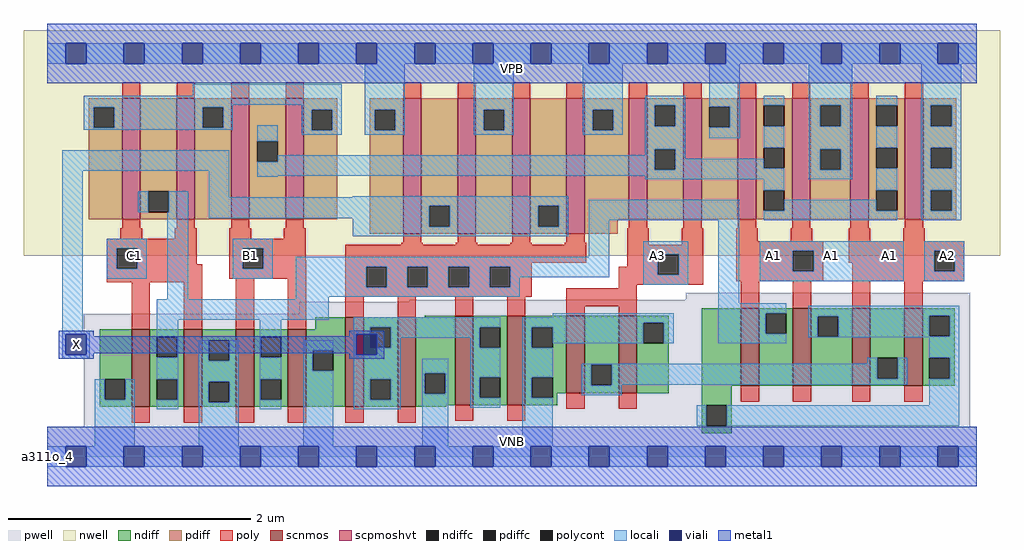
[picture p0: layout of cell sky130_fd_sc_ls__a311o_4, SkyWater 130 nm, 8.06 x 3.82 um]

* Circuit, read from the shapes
.subckt sky130_fd_sc_ls__a311o_4 A1 A2 A3 B1 C1 VGND VNB VPB VPWR X
XM1 n1 C1 VGND VNB sky130_fd_pr__nfet_01v8 w=0.64 l=0.15 m=2
XM2 n1 B1 VGND VNB sky130_fd_pr__nfet_01v8 w=0.64 l=0.15 m=2
XM3 X n1 VGND VNB sky130_fd_pr__nfet_01v8 w=0.74 l=0.15 m=4
XM4 n2 A3 VGND VNB sky130_fd_pr__nfet_01v8 w=0.64 l=0.15 m=2
XM5 n1 A1 n3 VNB sky130_fd_pr__nfet_01v8 w=0.64 l=0.15 m=2
XM6 n2 A2 n3 VNB sky130_fd_pr__nfet_01v8 w=0.64 l=0.15 m=2
XM7 n1 C1 n4 VPB sky130_fd_pr__pfet_01v8_hvt w=1 l=0.15 m=2
XM8 n5 B1 n4 VPB sky130_fd_pr__pfet_01v8_hvt w=1 l=0.15 m=2
XM9 X n1 VPWR VPB sky130_fd_pr__pfet_01v8_hvt w=1.12 l=0.15 m=4
XM10 n5 A3 VPWR VPB sky130_fd_pr__pfet_01v8_hvt w=1 l=0.15 m=2
XM11 n5 A1 VPWR VPB sky130_fd_pr__pfet_01v8_hvt w=1 l=0.15 m=2
XM12 n5 A2 VPWR VPB sky130_fd_pr__pfet_01v8_hvt w=1 l=0.15 m=2
.ends

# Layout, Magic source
magic
tech sky130A
magscale 1 2
<< nwell >>
rect -38 332 1574 704
<< pwell >>
rect 1055 259 1525 271
rect 598 256 1525 259
rect 417 236 1525 256
rect 61 49 1525 236
rect 0 0 1536 49
<< scnmos >>
rect 140 82 170 210
rect 226 82 256 210
rect 312 82 342 210
rect 398 82 428 210
rect 493 82 523 230
rect 579 82 609 230
rect 674 85 704 233
rect 760 85 790 233
rect 858 105 888 233
rect 944 105 974 233
rect 1146 117 1176 245
rect 1232 117 1262 245
rect 1330 117 1360 245
rect 1416 117 1446 245
<< scpmoshvt >>
rect 124 392 154 592
rect 214 392 244 592
rect 304 392 334 592
rect 394 392 424 592
rect 588 368 618 592
rect 678 368 708 592
rect 768 368 798 592
rect 858 368 888 592
rect 961 392 991 592
rect 1051 392 1081 592
rect 1141 392 1171 592
rect 1231 392 1261 592
rect 1327 392 1357 592
rect 1417 392 1447 592
<< ndiff >>
rect 624 230 674 233
rect 443 210 493 230
rect 87 128 140 210
rect 87 94 95 128
rect 129 94 140 128
rect 87 82 140 94
rect 170 198 226 210
rect 170 164 181 198
rect 215 164 226 198
rect 170 128 226 164
rect 170 94 181 128
rect 215 94 226 128
rect 170 82 226 94
rect 256 192 312 210
rect 256 158 267 192
rect 301 158 312 192
rect 256 124 312 158
rect 256 90 267 124
rect 301 90 312 124
rect 256 82 312 90
rect 342 198 398 210
rect 342 164 353 198
rect 387 164 398 198
rect 342 128 398 164
rect 342 94 353 128
rect 387 94 398 128
rect 342 82 398 94
rect 428 176 493 210
rect 428 142 439 176
rect 473 142 493 176
rect 428 82 493 142
rect 523 214 579 230
rect 523 180 534 214
rect 568 180 579 214
rect 523 128 579 180
rect 523 94 534 128
rect 568 94 579 128
rect 523 82 579 94
rect 609 138 674 230
rect 609 104 624 138
rect 658 104 674 138
rect 609 85 674 104
rect 704 214 760 233
rect 704 180 715 214
rect 749 180 760 214
rect 704 131 760 180
rect 704 97 715 131
rect 749 97 760 131
rect 704 85 760 97
rect 790 214 858 233
rect 790 180 801 214
rect 835 180 858 214
rect 790 131 858 180
rect 790 97 801 131
rect 835 105 858 131
rect 888 152 944 233
rect 888 118 899 152
rect 933 118 944 152
rect 888 105 944 118
rect 974 221 1027 233
rect 974 187 985 221
rect 1019 187 1027 221
rect 974 105 1027 187
rect 1081 117 1146 245
rect 1176 237 1232 245
rect 1176 203 1187 237
rect 1221 203 1232 237
rect 1176 117 1232 203
rect 1262 232 1330 245
rect 1262 198 1273 232
rect 1307 198 1330 232
rect 1262 117 1330 198
rect 1360 163 1416 245
rect 1360 129 1371 163
rect 1405 129 1416 163
rect 1360 117 1416 129
rect 1446 233 1499 245
rect 1446 199 1457 233
rect 1491 199 1499 233
rect 1446 163 1499 199
rect 1446 129 1457 163
rect 1491 129 1499 163
rect 1446 117 1499 129
rect 835 97 843 105
rect 790 85 843 97
rect 609 82 659 85
rect 1081 85 1131 117
rect 1081 51 1089 85
rect 1123 51 1131 85
rect 1081 39 1131 51
<< pdiff >>
rect 69 577 124 592
rect 69 543 77 577
rect 111 543 124 577
rect 69 392 124 543
rect 154 438 214 592
rect 154 404 167 438
rect 201 404 214 438
rect 154 392 214 404
rect 244 577 304 592
rect 244 543 257 577
rect 291 543 304 577
rect 244 392 304 543
rect 334 521 394 592
rect 334 487 347 521
rect 381 487 394 521
rect 334 392 394 487
rect 424 573 479 592
rect 424 539 437 573
rect 471 539 479 573
rect 424 392 479 539
rect 533 573 588 592
rect 533 539 541 573
rect 575 539 588 573
rect 533 368 588 539
rect 618 414 678 592
rect 618 380 631 414
rect 665 380 678 414
rect 618 368 678 380
rect 708 573 768 592
rect 708 539 721 573
rect 755 539 768 573
rect 708 368 768 539
rect 798 414 858 592
rect 798 380 811 414
rect 845 380 858 414
rect 798 368 858 380
rect 888 573 961 592
rect 888 539 901 573
rect 935 539 961 573
rect 888 392 961 539
rect 991 580 1051 592
rect 991 546 1004 580
rect 1038 546 1051 580
rect 991 508 1051 546
rect 991 474 1004 508
rect 1038 474 1051 508
rect 991 392 1051 474
rect 1081 578 1141 592
rect 1081 544 1094 578
rect 1128 544 1141 578
rect 1081 392 1141 544
rect 1171 580 1231 592
rect 1171 546 1184 580
rect 1218 546 1231 580
rect 1171 510 1231 546
rect 1171 476 1184 510
rect 1218 476 1231 510
rect 1171 440 1231 476
rect 1171 406 1184 440
rect 1218 406 1231 440
rect 1171 392 1231 406
rect 1261 580 1327 592
rect 1261 546 1277 580
rect 1311 546 1327 580
rect 1261 508 1327 546
rect 1261 474 1277 508
rect 1311 474 1327 508
rect 1261 392 1327 474
rect 1357 580 1417 592
rect 1357 546 1370 580
rect 1404 546 1417 580
rect 1357 510 1417 546
rect 1357 476 1370 510
rect 1404 476 1417 510
rect 1357 440 1417 476
rect 1357 406 1370 440
rect 1404 406 1417 440
rect 1357 392 1417 406
rect 1447 580 1502 592
rect 1447 546 1460 580
rect 1494 546 1502 580
rect 1447 510 1502 546
rect 1447 476 1460 510
rect 1494 476 1502 510
rect 1447 440 1502 476
rect 1447 406 1460 440
rect 1494 406 1502 440
rect 1447 392 1502 406
rect 888 368 943 392
<< ndiffc >>
rect 95 94 129 128
rect 181 164 215 198
rect 181 94 215 128
rect 267 158 301 192
rect 267 90 301 124
rect 353 164 387 198
rect 353 94 387 128
rect 439 142 473 176
rect 534 180 568 214
rect 534 94 568 128
rect 624 104 658 138
rect 715 180 749 214
rect 715 97 749 131
rect 801 180 835 214
rect 801 97 835 131
rect 899 118 933 152
rect 985 187 1019 221
rect 1187 203 1221 237
rect 1273 198 1307 232
rect 1371 129 1405 163
rect 1457 199 1491 233
rect 1457 129 1491 163
rect 1089 51 1123 85
<< pdiffc >>
rect 77 543 111 577
rect 167 404 201 438
rect 257 543 291 577
rect 347 487 381 521
rect 437 539 471 573
rect 541 539 575 573
rect 631 380 665 414
rect 721 539 755 573
rect 811 380 845 414
rect 901 539 935 573
rect 1004 546 1038 580
rect 1004 474 1038 508
rect 1094 544 1128 578
rect 1184 546 1218 580
rect 1184 476 1218 510
rect 1184 406 1218 440
rect 1277 546 1311 580
rect 1277 474 1311 508
rect 1370 546 1404 580
rect 1370 476 1404 510
rect 1370 406 1404 440
rect 1460 546 1494 580
rect 1460 476 1494 510
rect 1460 406 1494 440
<< poly >>
rect 124 592 154 618
rect 214 592 244 618
rect 304 592 334 618
rect 394 592 424 618
rect 588 592 618 618
rect 678 592 708 618
rect 768 592 798 618
rect 858 592 888 618
rect 961 592 991 618
rect 1051 592 1081 618
rect 1141 592 1171 618
rect 1231 592 1261 618
rect 1327 592 1357 618
rect 1417 592 1447 618
rect 124 377 154 392
rect 214 377 244 392
rect 304 377 334 392
rect 394 377 424 392
rect 121 360 157 377
rect 211 360 247 377
rect 99 344 247 360
rect 99 310 115 344
rect 149 318 247 344
rect 301 360 337 377
rect 391 360 427 377
rect 961 377 991 392
rect 1051 377 1081 392
rect 1141 377 1171 392
rect 1231 377 1261 392
rect 1327 377 1357 392
rect 1417 377 1447 392
rect 301 344 427 360
rect 588 353 618 368
rect 678 353 708 368
rect 768 353 798 368
rect 858 353 888 368
rect 585 350 621 353
rect 675 350 711 353
rect 765 350 801 353
rect 855 350 891 353
rect 149 310 256 318
rect 99 288 256 310
rect 301 310 323 344
rect 357 324 427 344
rect 357 310 428 324
rect 301 294 428 310
rect 140 210 170 288
rect 226 210 256 288
rect 312 210 342 294
rect 398 210 428 294
rect 493 320 891 350
rect 958 350 994 377
rect 1048 350 1084 377
rect 958 334 1084 350
rect 493 314 801 320
rect 958 314 1009 334
rect 493 280 527 314
rect 561 280 595 314
rect 629 280 663 314
rect 697 280 731 314
rect 765 280 801 314
rect 493 264 801 280
rect 944 300 1009 314
rect 1043 300 1084 334
rect 944 284 1084 300
rect 1138 356 1174 377
rect 1228 356 1264 377
rect 1324 356 1360 377
rect 1414 356 1450 377
rect 1138 340 1282 356
rect 1138 306 1232 340
rect 1266 306 1282 340
rect 1324 340 1515 356
rect 1324 320 1465 340
rect 1138 290 1282 306
rect 1330 306 1465 320
rect 1499 306 1515 340
rect 1330 290 1515 306
rect 944 278 974 284
rect 493 230 523 264
rect 579 230 609 264
rect 674 233 704 264
rect 760 233 790 264
rect 858 248 974 278
rect 858 233 888 248
rect 944 233 974 248
rect 1146 245 1176 290
rect 1232 245 1262 290
rect 1330 245 1360 290
rect 1416 245 1446 290
rect 140 56 170 82
rect 226 56 256 82
rect 312 56 342 82
rect 398 56 428 82
rect 493 56 523 82
rect 579 56 609 82
rect 674 59 704 85
rect 760 59 790 85
rect 858 79 888 105
rect 944 79 974 105
rect 1146 91 1176 117
rect 1232 91 1262 117
rect 1330 91 1360 117
rect 1416 91 1446 117
<< polycont >>
rect 115 310 149 344
rect 323 310 357 344
rect 527 280 561 314
rect 595 280 629 314
rect 663 280 697 314
rect 731 280 765 314
rect 1009 300 1043 334
rect 1232 306 1266 340
rect 1465 306 1499 340
<< locali >>
rect 0 649 31 683
rect 65 649 127 683
rect 161 649 223 683
rect 257 649 319 683
rect 353 649 415 683
rect 449 649 511 683
rect 545 649 607 683
rect 641 649 703 683
rect 737 649 799 683
rect 833 649 895 683
rect 929 649 991 683
rect 1025 649 1087 683
rect 1121 649 1183 683
rect 1217 649 1279 683
rect 1313 649 1375 683
rect 1409 649 1471 683
rect 1505 649 1536 683
rect 241 596 487 615
rect 61 581 487 596
rect 61 577 307 581
rect 61 543 77 577
rect 111 543 257 577
rect 291 543 307 577
rect 421 573 487 581
rect 61 540 307 543
rect 347 521 381 547
rect 421 539 437 573
rect 471 539 487 573
rect 421 532 487 539
rect 525 573 591 649
rect 525 539 541 573
rect 575 539 591 573
rect 525 532 591 539
rect 705 573 771 649
rect 705 539 721 573
rect 755 539 771 573
rect 705 532 771 539
rect 885 573 951 649
rect 885 539 901 573
rect 935 539 951 573
rect 885 532 951 539
rect 988 580 1054 596
rect 988 546 1004 580
rect 1038 546 1054 580
rect 25 472 301 506
rect 25 208 59 472
rect 151 404 167 438
rect 201 404 233 438
rect 99 344 165 360
rect 99 310 115 344
rect 149 310 165 344
rect 99 294 165 310
rect 199 260 233 404
rect 267 428 301 472
rect 988 508 1054 546
rect 1094 578 1144 649
rect 1128 544 1144 578
rect 1094 526 1144 544
rect 1184 580 1218 596
rect 988 498 1004 508
rect 381 487 1004 498
rect 347 474 1004 487
rect 1038 492 1054 508
rect 1184 510 1218 546
rect 1038 476 1184 492
rect 1038 474 1218 476
rect 347 464 1218 474
rect 347 462 381 464
rect 988 458 1218 464
rect 1258 580 1330 649
rect 1258 546 1277 580
rect 1311 546 1330 580
rect 1258 508 1330 546
rect 1258 474 1277 508
rect 1311 474 1330 508
rect 1258 458 1330 474
rect 1370 580 1404 596
rect 1370 510 1404 546
rect 1184 440 1218 458
rect 505 428 861 430
rect 267 414 861 428
rect 267 394 631 414
rect 505 380 631 394
rect 665 380 811 414
rect 845 380 861 414
rect 505 364 861 380
rect 895 390 1143 424
rect 1370 440 1404 476
rect 1218 406 1370 424
rect 1184 390 1404 406
rect 1444 580 1510 649
rect 1444 546 1460 580
rect 1494 546 1510 580
rect 1444 510 1510 546
rect 1444 476 1460 510
rect 1494 476 1510 510
rect 1444 440 1510 476
rect 1444 406 1460 440
rect 1494 406 1510 440
rect 1444 390 1510 406
rect 307 344 373 360
rect 307 310 323 344
rect 357 310 373 344
rect 895 330 929 390
rect 307 294 373 310
rect 411 314 929 330
rect 411 280 527 314
rect 561 280 595 314
rect 629 280 663 314
rect 697 280 731 314
rect 765 296 929 314
rect 985 334 1059 356
rect 985 300 1009 334
rect 1043 300 1059 334
rect 765 280 781 296
rect 985 284 1059 300
rect 411 264 781 280
rect 411 260 465 264
rect 181 226 465 260
rect 1109 253 1143 390
rect 1177 340 1415 356
rect 1177 306 1232 340
rect 1266 306 1415 340
rect 1177 290 1415 306
rect 1449 340 1515 356
rect 1449 306 1465 340
rect 1499 306 1515 340
rect 1449 290 1515 306
rect 1109 237 1221 253
rect 835 230 1035 237
rect 25 202 71 208
rect 25 168 31 202
rect 65 168 71 202
rect 25 162 71 168
rect 181 198 217 226
rect 215 164 217 198
rect 351 198 387 226
rect 181 128 217 164
rect 79 94 95 128
rect 129 94 145 128
rect 79 17 145 94
rect 215 94 217 128
rect 181 78 217 94
rect 251 158 267 192
rect 301 158 317 192
rect 251 124 317 158
rect 251 90 267 124
rect 301 90 317 124
rect 251 17 317 90
rect 351 164 353 198
rect 507 214 749 230
rect 507 202 534 214
rect 351 128 387 164
rect 351 94 353 128
rect 351 78 387 94
rect 423 176 473 192
rect 423 142 439 176
rect 423 17 473 142
rect 507 168 511 202
rect 568 196 715 214
rect 568 180 584 196
rect 545 168 584 180
rect 507 128 584 168
rect 699 180 715 196
rect 507 94 534 128
rect 568 94 584 128
rect 507 78 584 94
rect 620 138 663 162
rect 620 104 624 138
rect 658 104 663 138
rect 620 17 663 104
rect 699 131 749 180
rect 699 97 715 131
rect 699 81 749 97
rect 785 221 1035 230
rect 785 214 985 221
rect 785 180 801 214
rect 835 187 985 214
rect 1019 187 1035 221
rect 1109 203 1187 237
rect 1109 187 1221 203
rect 1257 233 1507 249
rect 1257 232 1457 233
rect 1257 198 1273 232
rect 1307 199 1457 232
rect 1491 199 1507 233
rect 1307 198 1507 199
rect 1257 197 1507 198
rect 785 131 835 180
rect 1457 163 1507 197
rect 1355 153 1371 163
rect 785 97 801 131
rect 883 152 1371 153
rect 883 118 899 152
rect 933 129 1371 152
rect 1405 129 1421 163
rect 933 119 1421 129
rect 1491 129 1507 163
rect 933 118 949 119
rect 883 101 949 118
rect 785 17 835 97
rect 1457 85 1507 129
rect 1073 51 1089 85
rect 1123 51 1507 85
rect 0 -17 31 17
rect 65 -17 127 17
rect 161 -17 223 17
rect 257 -17 319 17
rect 353 -17 415 17
rect 449 -17 511 17
rect 545 -17 607 17
rect 641 -17 703 17
rect 737 -17 799 17
rect 833 -17 895 17
rect 929 -17 991 17
rect 1025 -17 1087 17
rect 1121 -17 1183 17
rect 1217 -17 1279 17
rect 1313 -17 1375 17
rect 1409 -17 1471 17
rect 1505 -17 1536 17
<< viali >>
rect 31 649 65 683
rect 127 649 161 683
rect 223 649 257 683
rect 319 649 353 683
rect 415 649 449 683
rect 511 649 545 683
rect 607 649 641 683
rect 703 649 737 683
rect 799 649 833 683
rect 895 649 929 683
rect 991 649 1025 683
rect 1087 649 1121 683
rect 1183 649 1217 683
rect 1279 649 1313 683
rect 1375 649 1409 683
rect 1471 649 1505 683
rect 31 168 65 202
rect 511 180 534 202
rect 534 180 545 202
rect 511 168 545 180
rect 31 -17 65 17
rect 127 -17 161 17
rect 223 -17 257 17
rect 319 -17 353 17
rect 415 -17 449 17
rect 511 -17 545 17
rect 607 -17 641 17
rect 703 -17 737 17
rect 799 -17 833 17
rect 895 -17 929 17
rect 991 -17 1025 17
rect 1087 -17 1121 17
rect 1183 -17 1217 17
rect 1279 -17 1313 17
rect 1375 -17 1409 17
rect 1471 -17 1505 17
<< metal1 >>
rect 0 683 1536 715
rect 0 649 31 683
rect 65 649 127 683
rect 161 649 223 683
rect 257 649 319 683
rect 353 649 415 683
rect 449 649 511 683
rect 545 649 607 683
rect 641 649 703 683
rect 737 649 799 683
rect 833 649 895 683
rect 929 649 991 683
rect 1025 649 1087 683
rect 1121 649 1183 683
rect 1217 649 1279 683
rect 1313 649 1375 683
rect 1409 649 1471 683
rect 1505 649 1536 683
rect 0 617 1536 649
rect 19 202 77 208
rect 19 168 31 202
rect 65 199 77 202
rect 499 202 557 208
rect 499 199 511 202
rect 65 171 511 199
rect 65 168 77 171
rect 19 162 77 168
rect 499 168 511 171
rect 545 168 557 202
rect 499 162 557 168
rect 0 17 1536 49
rect 0 -17 31 17
rect 65 -17 127 17
rect 161 -17 223 17
rect 257 -17 319 17
rect 353 -17 415 17
rect 449 -17 511 17
rect 545 -17 607 17
rect 641 -17 703 17
rect 737 -17 799 17
rect 833 -17 895 17
rect 929 -17 991 17
rect 1025 -17 1087 17
rect 1121 -17 1183 17
rect 1217 -17 1279 17
rect 1313 -17 1375 17
rect 1409 -17 1471 17
rect 1505 -17 1536 17
rect 0 -49 1536 -17
<< labels >>
rlabel comment s 0 0 0 0 4 a311o_4
flabel pwell s 0 0 1536 49 0 FreeSans 200 0 0 0 VNB
port 7 nsew ground bidirectional
flabel nwell s 0 617 1536 666 0 FreeSans 200 0 0 0 VPB
port 8 nsew power bidirectional
flabel metal1 s 31 168 65 202 0 FreeSans 340 0 0 0 X
port 10 nsew signal output
flabel metal1 s 0 617 1536 666 0 FreeSans 340 0 0 0 VPWR
port 9 nsew power bidirectional abutment
flabel metal1 s 0 0 1536 49 0 FreeSans 340 0 0 0 VGND
port 6 nsew ground bidirectional abutment
flabel locali s 127 316 161 350 0 FreeSans 340 0 0 0 C1
port 5 nsew signal input
flabel locali s 319 316 353 350 0 FreeSans 340 0 0 0 B1
port 4 nsew signal input
flabel locali s 991 316 1025 350 0 FreeSans 340 0 0 0 A3
port 3 nsew signal input
flabel locali s 1471 316 1505 350 0 FreeSans 340 0 0 0 A2
port 2 nsew signal input
flabel locali s 1183 316 1217 350 0 FreeSans 340 0 0 0 A1
port 1 nsew signal input
flabel locali s 1279 316 1313 350 0 FreeSans 340 0 0 0 A1
port 1 nsew signal input
flabel locali s 1375 316 1409 350 0 FreeSans 340 0 0 0 A1
port 1 nsew signal input
<< properties >>
string LEFsite unit
string LEFclass CORE
string FIXED_BBOX 0 0 1536 666
string GDS_FILE $PDKPATH/libs.ref/sky130_fd_sc_ls/gds/sky130_fd_sc_ls.gds
string LEFsymmetry X Y
string GDS_END 2351112
string GDS_START 2338826
<< end >>
